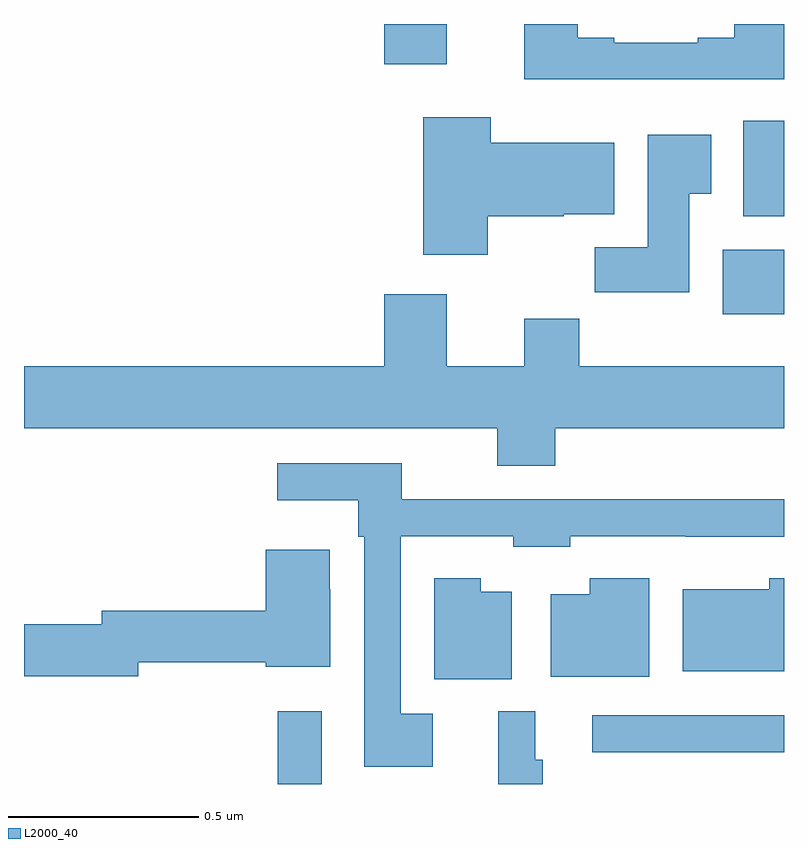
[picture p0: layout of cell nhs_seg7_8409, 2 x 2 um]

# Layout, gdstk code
import gdstk
lib = gdstk.Library(unit=1e-6, precision=1e-09)
def R(c, l, rs):  # rectangles x0, y0, x1, y1
    for r in rs: c.add(gdstk.rectangle(r[:2], r[2:], *l))
def P(c, l, *ps):  # polygons
    for p in ps: c.add(gdstk.Polygon(p, *l))
L2000_40 = (2000, 40)

nhs_seg7_8409 = lib.new_cell('nhs_seg7_8409')
R(nhs_seg7_8409, L2000_40, [(224.668,1013,224.784,1013.191), (225.495,1013.084,226,1013.181), (225.839,1014.236,226,1014.406), (225.893,1014.494,226,1014.745), (224.948,1014.894,225.112,1015)])
P(nhs_seg7_8409, L2000_40, [(226,1015),(225.869,1015),(225.869,1014.964),(225.773,1014.964),(225.773,1014.951),(225.553,1014.951),(225.553,1014.964),(225.457,1014.964),(225.457,1015),(225.317,1015),(225.317,1014.854),(226,1014.854)],
  [(225.22,1014.494),(225.42,1014.494),(225.42,1014.5),(225.553,1014.5),(225.553,1014.688),(225.228,1014.688),(225.228,1014.754),(225.05,1014.754),(225.05,1014.393),(225.22,1014.393)],
  [(225.751,1014.553),(225.808,1014.553),(225.808,1014.709),(225.641,1014.709),(225.641,1014.412),(225.502,1014.412),(225.502,1014.294),(225.751,1014.294)],
  [(224.948,1014.289),(224.948,1014.1),(224,1014.1),(224,1013.936),(225.245,1013.936),(225.245,1013.837),(225.398,1013.837),(225.398,1013.936),(226,1013.936),(226,1014.1),(225.461,1014.1),(225.461,1014.224),(225.317,1014.224),(225.317,1014.1),(225.112,1014.1),(225.112,1014.289)],
  [(225.076,1013.185),(224.991,1013.185),(224.991,1013.652),(225.288,1013.652),(225.288,1013.624),(225.438,1013.624),(225.438,1013.652),(225.742,1013.652),(225.742,1013.651),(226,1013.651),(226,1013.75),(224.994,1013.75),(224.994,1013.844),(224.667,1013.844),(224.667,1013.747),(224.879,1013.747),(224.879,1013.651),(224.895,1013.651),(224.895,1013.045),(225.076,1013.045)],
  [(224.301,1013.32),(224.636,1013.32),(224.636,1013.309),(224.806,1013.309),(224.806,1013.513),(224.805,1013.513),(224.805,1013.616),(224.636,1013.616),(224.636,1013.456),(224.205,1013.456),(224.205,1013.42),(224,1013.42),(224,1013.284),(224.301,1013.284)],
  [(225.283,1013.506),(225.202,1013.506),(225.202,1013.542),(225.08,1013.542),(225.08,1013.276),(225.283,1013.276)],
  [(225.646,1013.542),(225.489,1013.542),(225.489,1013.5),(225.386,1013.5),(225.386,1013.282),(225.646,1013.282)],
  [(226,1013.542),(225.961,1013.542),(225.961,1013.512),(225.734,1013.512),(225.734,1013.297),(226,1013.297)],
  [(225.365,1013.064),(225.346,1013.064),(225.346,1013.191),(225.248,1013.191),(225.248,1013),(225.365,1013)])

lib.write_gds('nhs_seg7_8409.gds')
